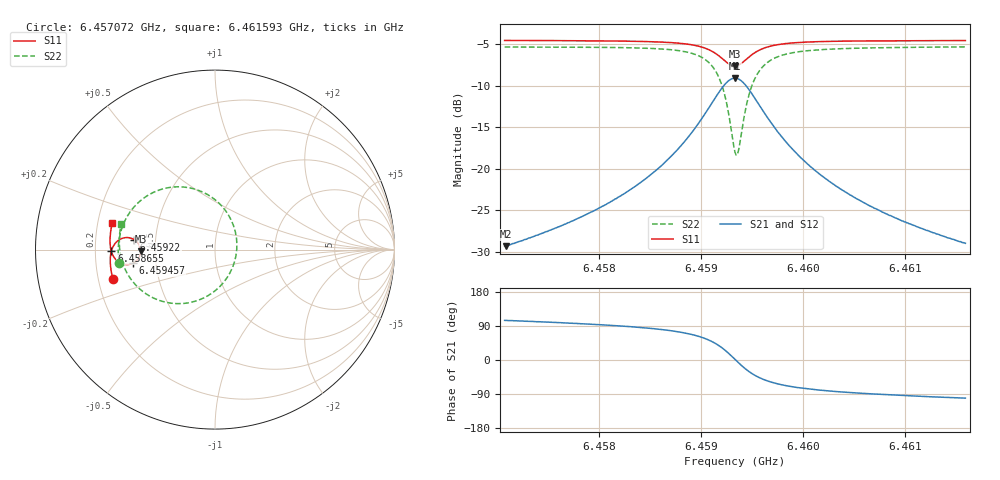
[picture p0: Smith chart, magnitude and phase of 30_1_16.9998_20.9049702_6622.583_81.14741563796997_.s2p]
#  HZ  S  RI  R  50.00
! Rohde & Schwarz Vector Network Analyzer
! Rohde-Schwarz,ZNB20-2Port,1311601062101988,3.16
! Created: UTC 3/20/2024, 10:53:21 PM
! freq[Hz]  re:S11  im:S11  re:S21  im:S21  re:S12  im:S12  re:S22  im:S22
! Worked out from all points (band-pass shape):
!   401 points, 6.457072 GHz to 6.461593 GHz, reference 50 ohm
!   highest |S21| = -9.09 dB at 6.459333 GHz (marker M1); lowest = -29.3 dB at 6.457084 GHz (marker M2)
!   |S21| within 3 dB of the highest: 6.459106 GHz to 6.459558 GHz (452.2 kHz wide, 0.007 % of centre)
!   lowest |S11| = -7.6 dB at 6.459333 GHz (marker M3), VSWR 2.42, Z = 20.7 - j0.458 ohm
!   |S11| at or under -10 dB: nowhere
!   |S22| runs from -18.3 to -5.3 dB; largest |S21 - S12| = 0.014
!   S11 on the Smith chart (normalised r, x): 6.457072 GHz: 0.26, -0.13; 6.458655 GHz: 0.27, -0.01; 6.45922 GHz: 0.38, +0.05; 6.459457 GHz: 0.37, -0.07; 6.461593 GHz: 0.26, +0.12
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6.4570725e9  -0.5681 -0.1664  -0.00866 0.0333  -0.00694 0.0331  -0.535 -0.0758
6.4570838e9  -0.5683 -0.1653  -0.00851 0.0332  -0.00682 0.0333  -0.5351 -0.0745
6.4578296e9  -0.5812 -0.0996  -0.00512 0.0514  -0.00261 0.0507  -0.5388 0.0141
6.458259e9  -0.5836 -0.0561  0.00138 0.0718  0.00469 0.0704  -0.529 0.0836
6.4585868e9  -0.5793 -0.0164  0.0157 0.1003  0.0195 0.0975  -0.5026 0.1594
6.4586546e9  -0.5771 -0.00685  0.0209 0.1088  0.025 0.1056  -0.4921 0.1797
6.4588467e9  -0.5639 0.0235  0.0483 0.1402  0.0523 0.135  -0.4408 0.2488
6.4589936e9  -0.5408 0.0498  0.0948 0.1707  0.0979 0.1639  -0.355 0.3129
6.4591292e9  -0.4958 0.067  0.1839 0.1866  0.1848 0.1793  -0.192 0.3497
6.4592196e9  -0.4504 0.0557  0.2751 0.1536  0.2753 0.1478  -0.0233 0.2954
6.4592874e9  -0.4213 0.0227  0.3356 0.0795  0.3379 0.0741  0.0917 0.1611
6.4593326e9  -0.4146 -0.00916  0.351 0.0103  0.355 0.00305  0.122 0.0315
6.4593665e9  -0.4189 -0.0333  0.3445 -0.0429  0.3484 -0.0524  0.1083 -0.0693
6.4594117e9  -0.4351 -0.0596  0.3146 -0.1033  0.3168 -0.1155  0.0477 -0.183
6.4594569e9  -0.4576 -0.076  0.2714 -0.1442  0.2703 -0.1578  -0.04 -0.2572
6.4595473e9  -0.5015 -0.0828  0.1851 -0.1747  0.1788 -0.1864  -0.2117 -0.3011
6.4596942e9  -0.546 -0.0621  0.0964 -0.1597  0.0877 -0.1659  -0.3805 -0.2488
6.4598524e9  -0.5677 -0.0342  0.0512 -0.1311  0.0434 -0.1337  -0.4607 -0.1752
6.4600897e9  -0.5805 0.00112  0.0219 -0.0988  0.016 -0.0994  -0.5084 -0.0917
6.4604401e9  -0.5853 0.0432  0.0055 -0.0708  0.0016 -0.0703  -0.5298 -0.00991
6.4608469e9  -0.5833 0.0844  -0.00171 -0.0525  -0.00463 -0.0518  -0.5332 0.0561
6.4615927e9  -0.5714 0.1506  -0.00658 -0.0351  -0.00841 -0.0341  -0.5217 0.1451
